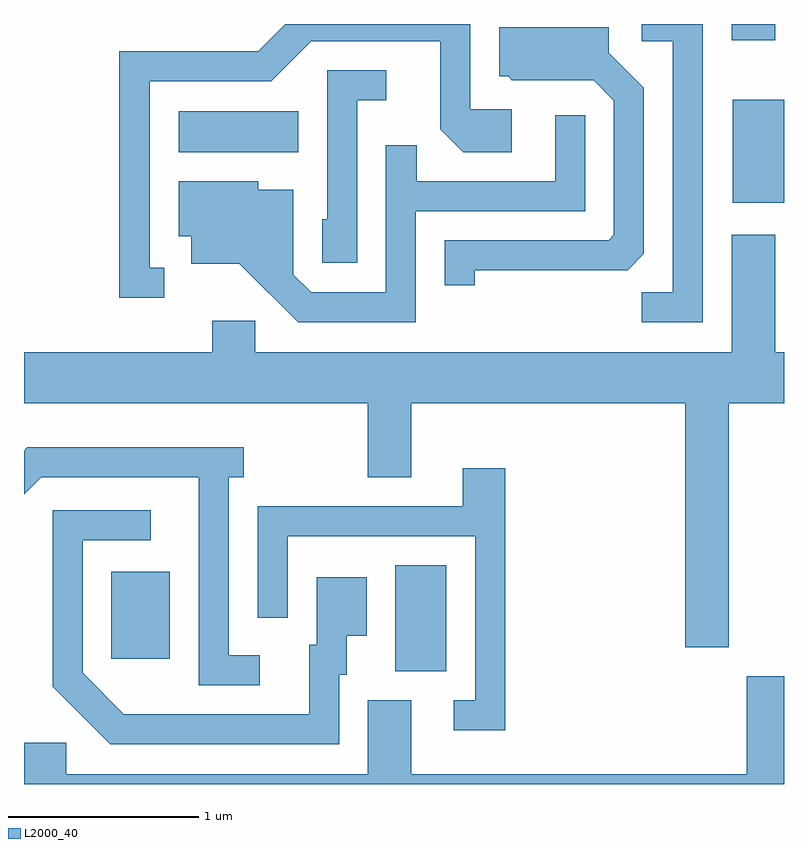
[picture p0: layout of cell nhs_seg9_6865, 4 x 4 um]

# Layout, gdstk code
import gdstk
lib = gdstk.Library(unit=1e-6, precision=1e-09)
def R(c, l, rs):  # rectangles x0, y0, x1, y1
    for r in rs: c.add(gdstk.rectangle(r[:2], r[2:], *l))
def P(c, l, *ps):  # polygons
    for p in ps: c.add(gdstk.Polygon(p, *l))
L2000_40 = (2000, 40)

nhs_seg9_6865 = lib.new_cell('nhs_seg9_6865')
R(nhs_seg9_6865, L2000_40, [(389.566,2037.026,389.834,2037.584), (388.071,2037.091,388.379,2037.549), (391.341,2039.491,391.611,2040.034), (388.426,2039.756,389.054,2039.974), (391.336,2040.346,391.564,2040.432)])
P(nhs_seg9_6865, L2000_40, [(388.348,2039.149),(388.274,2039.149),(388.274,2040.131),(388.912,2040.131),(389.122,2040.341),(389.801,2040.341),(389.801,2039.879),(389.924,2039.756),(390.179,2039.756),(390.179,2039.984),(389.959,2039.984),(389.959,2040.432),(388.987,2040.432),(388.844,2040.289),(388.111,2040.289),(388.111,2038.991),(388.348,2038.991)],
  [(391.184,2040.432),(390.863,2040.432),(390.863,2040.341),(391.026,2040.341),(391.026,2039.019),(390.863,2039.019),(390.863,2038.861),(391.184,2038.861)],
  [(389.984,2039.136),(390.789,2039.136),(390.874,2039.222),(390.874,2040.097),(390.689,2040.282),(390.689,2040.414),(390.111,2040.414),(390.111,2040.156),(390.159,2040.156),(390.179,2040.136),(390.609,2040.136),(390.716,2040.029),(390.716,2039.322),(390.689,2039.294),(389.826,2039.294),(389.826,2039.058),(389.984,2039.058)],
  [(389.364,2040.031),(389.518,2040.031),(389.518,2040.189),(389.206,2040.189),(389.206,2039.404),(389.181,2039.404),(389.181,2039.176),(389.364,2039.176)],
  [(389.674,2039.446),(390.564,2039.446),(390.564,2039.953),(390.406,2039.953),(390.406,2039.604),(389.679,2039.604),(389.679,2039.793),(389.516,2039.793),(389.516,2039.019),(389.122,2039.019),(389.029,2039.112),(389.029,2039.559),(388.844,2039.559),(388.844,2039.604),(388.426,2039.604),(388.426,2039.316),(388.491,2039.316),(388.491,2039.171),(388.744,2039.171),(389.054,2038.861),(389.674,2038.861)],
  [(391.319,2038.436),(391.611,2038.436),(391.611,2038.704),(391.564,2038.704),(391.564,2039.324),(391.336,2039.324),(391.336,2038.704),(388.829,2038.704),(388.829,2038.869),(388.601,2038.869),(388.601,2038.704),(387.611,2038.704),(387.611,2038.436),(389.421,2038.436),(389.421,2038.046),(389.649,2038.046),(389.649,2038.436),(391.091,2038.436),(391.091,2037.151),(391.319,2037.151)],
  [(388.853,2037.109),(388.689,2037.109),(388.689,2038.046),(388.768,2038.046),(388.768,2038.204),(387.629,2038.204),(387.611,2038.186),(387.611,2037.956),(387.702,2038.046),(388.531,2038.046),(388.531,2036.951),(388.853,2036.951)],
  [(390.144,2038.094),(389.921,2038.094),(389.921,2037.894),(388.841,2037.894),(388.841,2037.308),(388.999,2037.308),(388.999,2037.736),(389.986,2037.736),(389.986,2036.874),(389.873,2036.874),(389.873,2036.716),(390.144,2036.716)],
  [(389.269,2037.006),(389.309,2037.006),(389.309,2037.211),(389.414,2037.211),(389.414,2037.519),(389.151,2037.519),(389.151,2037.164),(389.111,2037.164),(389.111,2036.799),(388.137,2036.799),(387.919,2037.017),(387.919,2037.716),(388.278,2037.716),(388.278,2037.874),(387.761,2037.874),(387.761,2036.944),(388.064,2036.641),(389.269,2036.641)],
  [(391.611,2036.999),(391.416,2036.999),(391.416,2036.484),(389.649,2036.484),(389.649,2036.874),(389.421,2036.874),(389.421,2036.484),(387.834,2036.484),(387.834,2036.649),(387.611,2036.649),(387.611,2036.432),(391.611,2036.432)])

lib.write_gds('nhs_seg9_6865.gds')
